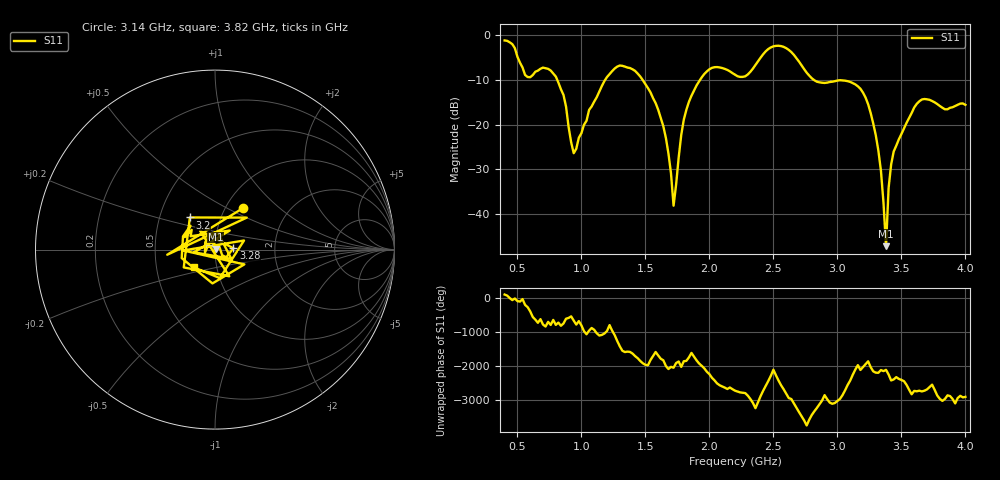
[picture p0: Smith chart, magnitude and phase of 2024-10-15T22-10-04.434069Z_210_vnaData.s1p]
! Created with skrf (http://scikit-rf.org).
# Hz S RI R 50.0
!freq ReS11 ImS11
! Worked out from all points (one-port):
!   181 points, 400 MHz to 4 GHz, reference 50 ohm
!   lowest |S11| = -47.2 dB at 3.38 GHz (marker M1), VSWR 1.01, Z = 50.3 + j0.329 ohm
!   |S11| at or under -10 dB: 810.9 MHz to 1.186 GHz (374.9 MHz wide, 37.6 % of centre); 1.478 GHz to 1.927 GHz (449.6 MHz wide, 26.4 % of centre); 2.815 GHz to end of sweep
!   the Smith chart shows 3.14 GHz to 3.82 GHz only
!   S11 on the Smith chart (normalised r, x): 3.14 GHz: 1.21, +0.61; 3.2 GHz: 0.71, +0.27; 3.28 GHz: 1.23, +0.02; 3.82 GHz: 0.77, -0.16
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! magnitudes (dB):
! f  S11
! 400 MHz  -1.2
! 560 MHz  -8.9
! 740 MHz  -7.6
! 860 MHz  -13.4
! 940 MHz  -26.4
! 1.3 GHz  -6.8
! 1.6 GHz  -16.7
! 1.68 GHz  -26.5
! 1.72 GHz  -38.1
! 1.76 GHz  -27.4
! 1.82 GHz  -16.7
! 1.94 GHz  -9.5
! 2.2 GHz  -8.8
! 2.5 GHz  -2.5
! 2.66 GHz  -4.4
! 2.84 GHz  -10.4
! 3.1 GHz  -10.5
! 3.14 GHz  -11.0
! 3.2 GHz  -12.9
! 3.28 GHz  -19.8
! 3.34 GHz  -30.3
! 3.38 GHz  -47.2
! 3.4 GHz  -34.2
! 3.42 GHz  -28.9
! 3.56 GHz  -18.6
! 3.66 GHz  -14.4
! 3.82 GHz  -16.2
! 4 GHz  -15.6
